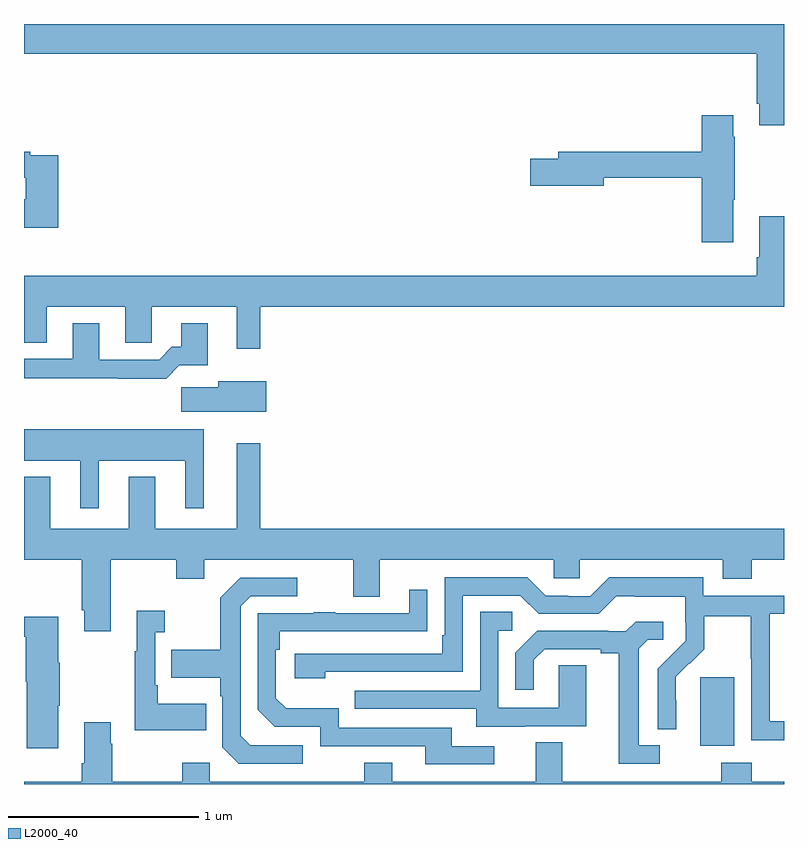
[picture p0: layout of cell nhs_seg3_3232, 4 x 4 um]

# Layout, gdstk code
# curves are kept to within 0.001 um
import gdstk
lib = gdstk.Library(unit=1e-6, precision=1e-09)
def R(c, l, rs):  # rectangles x0, y0, x1, y1
    for r in rs: c.add(gdstk.rectangle(r[:2], r[2:], *l))
def P(c, l, *ps):  # polygons
    for p in ps: c.add(gdstk.Polygon(p, *l))
L2000_40 = (2000, 40)

nhs_seg3_3232 = lib.new_cell('nhs_seg3_3232')
R(nhs_seg3_3232, L2000_40, [(282.56,702.602,282.739,702.963)])
P(nhs_seg3_3232, L2000_40, [(283,706.4),(279,706.4),(279,706.244),(282.857,706.244),(282.857,705.979),(282.869,705.979),(282.869,705.867),(283,705.867)],
  [(282.733,705.475),(282.741,705.475),(282.741,705.806),(282.733,705.806),(282.733,705.919),(282.566,705.919),(282.566,705.728),(281.813,705.728),(281.813,705.692),(281.664,705.692),(281.664,705.55),(282.052,705.55),(282.052,705.592),(282.566,705.592),(282.566,705.252),(282.733,705.252)],
  [(279.179,705.708),(279.032,705.708),(279.032,705.728),(279,705.728),(279,705.592),(279.008,705.592),(279.008,705.477),(279,705.477),(279,705.327),(279.179,705.327)],
  [(280.243,704.912),(283,704.912),(283,705.388),(282.869,705.388),(282.869,705.172),(282.857,705.172),(282.857,705.076),(279,705.076),(279,704.722),(279.121,704.722),(279.121,704.912),(279.533,704.912),(279.533,704.722),(279.672,704.722),(279.672,704.912),(280.121,704.912),(280.121,704.691),(280.243,704.691)],
  [(279.818,704.603),(279.967,704.603),(279.967,704.824),(279.827,704.824),(279.827,704.701),(279.778,704.701),(279.711,704.634),(279.397,704.634),(279.397,704.824),(279.257,704.824),(279.257,704.637),(279,704.637),(279,704.536),(279.493,704.536),(279.493,704.534),(279.749,704.534)],
  [(280.276,704.521),(280.022,704.521),(280.022,704.489),(279.828,704.489),(279.828,704.36),(280.276,704.36)],
  [(279.394,704.102),(279.848,704.102),(279.848,703.851),(279.946,703.851),(279.946,704.266),(279,704.266),(279,704.102),(279.296,704.102),(279.296,703.851),(279.394,703.851)],
  [(279.457,703.58),(279.802,703.58),(279.802,703.481),(279.949,703.481),(279.949,703.58),(280.733,703.58),(280.733,703.386),(280.873,703.386),(280.873,703.58),(281.787,703.58),(281.787,703.482),(281.925,703.482),(281.925,703.58),(282.677,703.58),(282.677,703.481),(282.83,703.481),(282.83,703.58),(283,703.58),(283,703.744),(280.243,703.744),(280.243,704.194),(280.121,704.194),(280.121,703.744),(279.691,703.744),(279.691,704.017),(279.551,704.017),(279.551,703.744),(279.139,703.744),(279.139,704.017),(279,704.017),(279,703.58),(279.305,703.58),(279.305,703.315),(279.317,703.315),(279.317,703.203),(279.457,703.203)],
  [(283,702.729),(282.924,702.729),(282.924,703.296),(283,703.296),(283,703.392),(282.576,703.392),(282.576,703.489),(282.079,703.489),(281.979,703.389),(281.864,703.389),(281.864,703.392),(281.745,703.392),(281.649,703.488),(281.214,703.488),(281.214,703.183),(281.201,703.183),(281.201,703.086),(280.425,703.086),(280.425,702.956),(280.586,702.956),(280.586,702.99),(281.31,702.99),(281.31,703.392),(281.613,703.392),(281.709,703.296),(282.024,703.296),(282.117,703.389),(282.217,703.389),(282.217,703.385),(282.48,703.385),(282.48,703.251),(282.482,703.251),(282.482,703.154),(282.336,703.006),(282.336,702.688),(282.432,702.688),(282.431,702.965),(282.501,703.035),(282.504,703.032),(282.581,703.109),(282.581,703.284),(282.826,703.284),(282.826,703.06),(282.828,703.06),(282.828,702.631),(283,702.631)],
  [(280.468,702.603),(280.191,702.603),(280.14,702.654),(280.14,703.335),(280.194,703.389),(280.438,703.389),(280.438,703.485),(280.137,703.485),(280.032,703.379),(280.032,703.107),(279.775,703.107),(279.775,702.959),(280.032,702.959),(280.032,702.863),(280.044,702.863),(280.044,702.594),(280.131,702.507),(280.468,702.507)],
  [(281.476,702.6),(281.251,702.6),(281.251,702.696),(280.656,702.696),(280.656,702.799),(280.379,702.799),(280.326,702.852),(280.326,703.106),(280.346,703.106),(280.346,703.203),(281.123,703.204),(281.123,703.423),(281.027,703.423),(281.027,703.299),(280.637,703.299),(280.637,703.304),(280.525,703.304),(280.525,703.299),(280.23,703.299),(280.23,702.792),(280.32,702.702),(280.56,702.702),(280.56,702.6),(281.111,702.6),(281.111,702.504),(281.476,702.504)],
  [(279.959,702.823),(279.703,702.823),(279.703,702.919),(279.69,702.919),(279.69,703.199),(279.742,703.199),(279.742,703.312),(279.593,703.312),(279.593,703.099),(279.582,703.099),(279.582,702.683),(279.959,702.683)],
  [(281.635,702.705),(281.959,702.705),(281.959,703.025),(281.814,703.025),(281.814,702.801),(281.496,702.801),(281.496,703.206),(281.569,703.206),(281.569,703.307),(281.4,703.307),(281.4,702.891),(280.741,702.891),(280.741,702.795),(281.381,702.795),(281.381,702.701),(281.635,702.701)],
  [(279.181,702.811),(279.189,702.811),(279.189,703.039),(279.181,703.039),(279.181,703.279),(279,703.279),(279,703.175),(279.008,703.175),(279.008,702.939),(279.014,702.939),(279.014,702.588),(279.181,702.588)],
  [(282.346,702.603),(282.235,702.603),(282.235,703.111),(282.282,703.158),(282.364,703.158),(282.364,703.255),(282.22,703.255),(282.168,703.203),(282.074,703.203),(282.074,703.206),(281.702,703.206),(281.586,703.09),(281.586,702.897),(281.683,702.897),(281.683,703.053),(281.74,703.11),(282.035,703.11),(282.035,703.088),(282.131,703.088),(282.131,702.507),(282.346,702.507)],
  [(283,702.412),(282.83,702.412),(282.83,702.511),(282.67,702.511),(282.67,702.412),(281.833,702.412),(281.833,702.62),(281.693,702.62),(281.693,702.412),(280.939,702.412),(280.939,702.511),(280.792,702.511),(280.792,702.412),(279.978,702.412),(279.978,702.511),(279.832,702.511),(279.832,702.412),(279.465,702.412),(279.465,702.611),(279.457,702.611),(279.457,702.724),(279.317,702.724),(279.317,702.508),(279.305,702.508),(279.305,702.412),(279,702.412),(279,702.4),(283,702.4)])

lib.write_gds('nhs_seg3_3232.gds')
